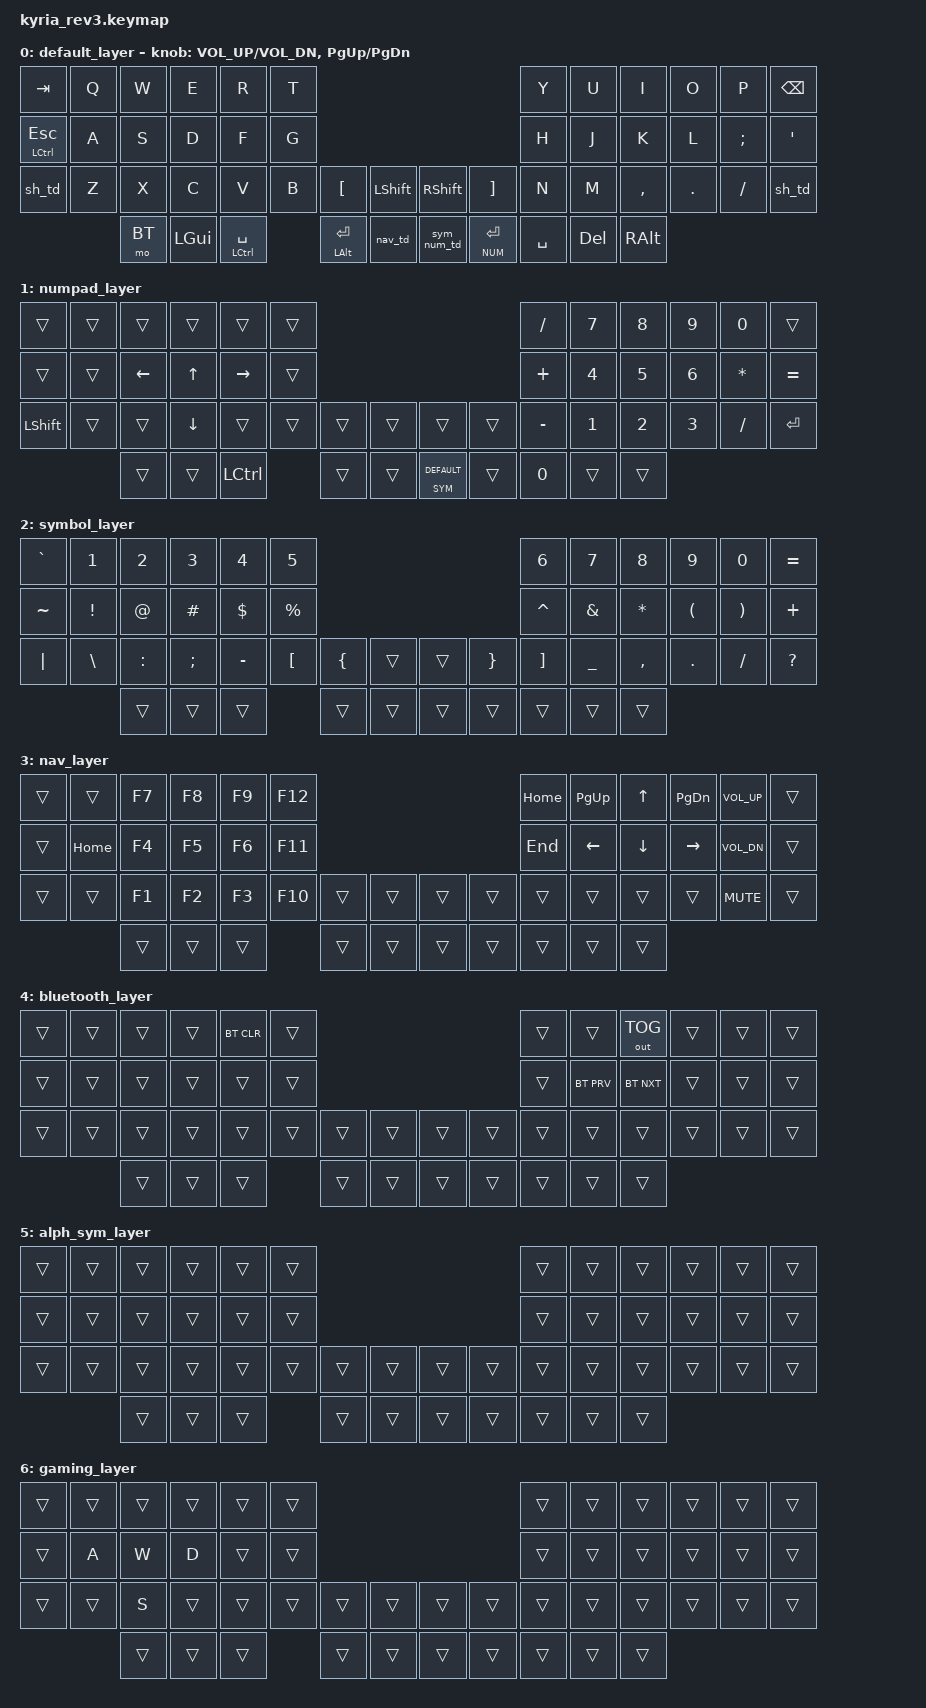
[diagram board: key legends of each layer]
/*
 * Copyright (c) 2023 The ZMK Contributors
 *
 * SPDX-License-Identifier: MIT
 */
#include <behaviors.dtsi>
#include <dt-bindings/zmk/keys.h>
#include <dt-bindings/zmk/bt.h>
#include <dt-bindings/zmk/outputs.h>

#define DEFAULT 0
#define NUM     1
#define SYM     2
#define NAV     3
#define BT      4

#define MO_TOG(layer) &mo_tog layer layer   // Macro to apply momentary-layer-on-hold/toggle-layer-on-tap to a specific layer

// Uncomment this block if using RGB
/* &led_strip { */
/*   // chain-length = <6>; */
/*     chain-length = <31>; // Uncomment if using both per-key and underglow LEDs */
/*     // chain-length = <25>; // Uncomment if using only per-key LEDs. */
/* }; */

// Empty layer template
// -----------------------------------------------------------------------------------------------------------------------------------------
// |       |     |     |      |      |      |                                                |       |       |       |      |       |      |
// |       |     |     |      |      |      |                                                |       |       |       |      |       |      |
// |       |     |     |      |      |      |         |         |        |         |         |       |       |       |      |       |      |
//                     |      |      |      |         |         |        |         |         |       |       |       |
/* bindings = < */
/* &none   &none   &none   &none     &none   &none                               &none &none &none &none &none &none */
/* &none   &none   &none   &none     &none   &none                               &none &none &none &none &none &none */
/* &none   &none   &none   &none     &none   &none   &none &none     &none &none &none &none &none &none &none &none */
/*                         &none     &none   &none   &none &none     &none &none &none &none &none */
/* >; */


// Empty inheriting layer template
// -----------------------------------------------------------------------------------------------------------------------------------------
// |       |     |     |      |      |      |                                                |       |       |       |      |       |      |
// |       |     |     |      |      |      |                                                |       |       |       |      |       |      |
// |       |     |     |      |      |      |         |         |        |         |         |       |       |       |      |       |      |
//                     |      |      |      |         |         |        |         |         |       |       |       |
/* bindings = < */
/* &trans &trans &trans &trans &trans &trans                                &trans &trans &trans &trans &trans &trans */
/* &trans &trans &trans &trans &trans &trans                                &trans &trans &trans &trans &trans &trans */
/* &trans &trans &trans &trans &trans &trans &trans &trans    &trans &trans &trans &trans &trans &trans &trans &trans */
/*                             &trans &trans &trans &trans    &trans &trans &trans &trans &trans &trans */
/* >; */



/ {
    behaviors {
        mo_tog: momentary_toggle_layer {
            compatible = "zmk,behavior-hold-tap";
            #binding-cells = <2>;
            flavor = "hold-preferred";
            tapping-term-ms = <200>;
			bindings = <&mo>, <&tog>;
        };
		mo_to: momentary_to_layer {
            compatible = "zmk,behavior-hold-tap";
            #binding-cells = <2>;
            flavor = "hold-preferred";
            tapping-term-ms = <200>;
			bindings = <&mo>, <&to>;
        };
		sh_td: shift_key_tap_dance {
            compatible = "zmk,behavior-tap-dance";
            #binding-cells = <0>;
            tapping-term-ms = <200>;
            bindings = <&sk LSHFT>, <&caps_word>;
        };
		sym_num_td: symbol_number_tap_dance {
            compatible = "zmk,behavior-tap-dance";
            #binding-cells = <0>;
            tapping-term-ms = <400>;
            bindings = <&mo SYM>, <&tog NUM>;
        };
		nav_td: nav_toggle_tap_dance {
            compatible = "zmk,behavior-tap-dance";
            #binding-cells = <0>;
            tapping-term-ms = <400>;
            bindings = <&mo NAV>, <&to NAV>;
        };
    };

    keymap {
        compatible = "zmk,keymap";
        default_layer {
            // -----------------------------------------------------------------------------------------------------------------------------------------
            // | TAB      | Q | W | E  |   R   |    T    |                                                    |   Y   |  U  |   I   | O |  P  |  BSPC  |
            // | CTRL/ESC | A | S | D  |   F   |    G    |                                                    |   H   |  J  |   K   | L |  ;  |    '   |
            // | LSHIFT   | Z | X | C  |   V   |    B    |    [   | LSHFT |                |  RSHFT  |   ]    |   N   |  M  |   ,   | . |  /  | RSHIFT |
            //                    | BT | SUPER | CTL\SPC | ALT\RET|  NAV  |                | NUM/SYM | SH/RET | SPACE | DEL | R-ALT |
           bindings = <
            &kp TAB        &kp Q  &kp W    &kp E    &kp R &kp T                                                     &kp Y     &kp U     &kp I     &kp O   &kp P    &kp BSPC
            &mt LCTRL ESC  &kp A  &kp S    &kp D    &kp F &kp G                                                     &kp H     &kp J     &kp K     &kp L   &kp SEMI &kp SQT
            &sh_td         &kp Z  &kp X    &kp C    &kp V &kp B     &kp LBKT     &kp LSHFT  &kp RSHIFT  &kp RBKT    &kp N     &kp M     &kp COMMA &kp DOT &kp FSLH &sh_td
                                  &mo BT   &kp LGUI &mt LCTL SPACE  &mt LALT RET &nav_td    &sym_num_td &lt NUM RET &kp SPACE &kp DEL   &kp RALT
            >;
            sensor-bindings = <&inc_dec_kp C_VOL_UP C_VOL_DN &inc_dec_kp PG_UP PG_DN>;
        };

		numpad_layer {
			// ---------------------------------------------------------------------------------------
			// |   |   |      |  UP   |       |  |                            | /  | 7 |  8  | 9 | 0  |     |
			// |   |   | LEFT | DOWN  | RIGHT |  |                            | +  | 4 |  5  | 6 | *  |  =  |
			// |   |   |      |       |       |  |  |  |         |       |    | -  | 1 |  2  | 3 | /  | RET |
			//                |       |       |  |  |  |         |SYM/DEF|    |    | 0 | DEL |
        bindings = <
        &trans    &trans  &trans    &trans    &trans    &trans                                                  &kp SLASH &kp N7  &kp N8 &kp N9 &kp N0    &trans
        &trans    &trans  &kp LEFT  &kp UP    &kp RIGHT &trans                                                  &kp PLUS  &kp N4  &kp N5 &kp N6 &kp STAR  &kp EQUAL
        &kp LSHFT &trans  &trans    &kp DOWN  &trans    &trans   &trans &trans       &trans              &trans &kp MINUS &kp N1  &kp N2 &kp N3 &kp SLASH &kp RET
                                    &trans    &trans    &kp LCTL &trans &trans       &mo_to SYM DEFAULT  &trans &kp N0    &trans  &trans
            >;
        };

        symbol_layer {
          // ---------------------------------------------------------------------------------------------------------------------------------
          // |   `    |  1   |  2   |   3   |   4   |  5    |                                      |  6  |  7   |   8  |   9   |  0  |   =   |
          // |   ~    |  !   |   @  |   #   |  $    |   %   |                                      |  ^  |  &   |   *  |   (   |  )  |   +   |
          // |   |    |  \   |  :   |   ;   |  -    |   [   |   {   |    |              |    |  }  |  ]  |  _   |   ,  |   .   |  /  |   ?   |
          //                        |       |       |       |       |    |              |    |     |     |     |      |
          bindings = <
          &kp GRAVE &kp N1   &kp N2    &kp N3   &kp N4    &kp N5                                        &kp N6    &kp N7    &kp N8    &kp N9   &kp N0    &kp EQUAL
          &kp TILDE &kp EXCL &kp AT    &kp HASH &kp DLLR  &kp PRCNT                                     &kp CARET &kp AMPS  &kp STAR  &kp LPAR &kp RPAR  &kp PLUS
          &kp PIPE  &kp BSLH &kp COLON &kp SEMI &kp MINUS &kp LBKT  &kp LBRC &trans     &trans &kp RBRC &kp RBKT  &kp UNDER &kp COMMA &kp DOT  &kp SLASH &kp QMARK
                                       &trans   &trans    &trans    &trans   &trans     &trans &trans   &trans &trans &trans
          >;

         };


        nav_layer {
          // ---------------------------------------------------------------------------------------------------------------------------------------------
          // |       |     |     |      |      |      |                                                |       |       |  UP   |        |  VOL UP |      |
          // |       |     |     |      |      |      |                                                |       | LEFT  | DOWN  | RIGHT  |  VOL DN |      |
          // |       |     |     |      |      |      |    |     |    |         |         |       |       |       |        |         |      |
          //                     |      |      |      |    |     |    |         |         |       |       |       |
          bindings = <
          &trans &trans   &kp F7 &kp F8  &kp F9   &kp F12                                 &kp HOME  &kp PG_UP &kp UP   &kp PG_DN &kp C_VOL_UP &trans
          &trans &kp HOME &kp F4 &kp F5  &kp F6   &kp F11                                 &kp END   &kp LEFT  &kp DOWN &kp RIGHT &kp C_VOL_DN &trans
          &trans &trans   &kp F1 &kp F2  &kp F3   &kp F10 &trans &trans     &trans &trans &trans &trans   &trans &trans  &kp C_MUTE &trans
                                         &trans   &trans  &trans &trans     &trans &trans &trans &trans   &trans &trans
          >;
        };

        bluetooth_layer {
          // -------------------------------------------------------------------------------------------------------------------------------------------
          // |       |     |     |      | BT_CLR |      |                                                |        |         | OUT_TOG |      |       |      |
          // |       |     |     |      |        |      |                                                |        | BT_PRV  | BT_NXT  |      |       |      |
          // |       |     |     |      |        |      |         |         |        |         |         |        |         |         |      |
          //                     |      |        |      |         |         |        |         |         |        |         |         |
          bindings = <
            &trans &trans &trans &trans &bt BT_CLR &trans                                 &trans &trans      &out OUT_TOG &trans &trans &trans
            &trans &trans &trans &trans &trans     &trans                                 &trans &bt BT_PRV  &bt BT_NXT   &trans &trans &trans
            &trans &trans &trans &trans &trans     &trans &trans &trans     &trans &trans &trans &trans      &trans       &trans &trans &trans
                                        &trans     &trans &trans &trans     &trans &trans &trans &trans      &trans       &trans
            >;
        };

        alph_sym_layer {
          // -----------------------------------------------------------------------------------------------------------------------------------------
          // |   |  |     |  ! |      |      |                                                |       |       |       |      |       |      |
          // |   |  |     |    |      |      |                                                |       |       |       |      |       |      |
          // |   |  |     |    |      |      |         |         |        |         |         |       |       |       |      |       |      |
          //                      |      |      |      |         |         |        |         |         |       |       |       |
          bindings = <
          &trans &trans &trans &trans &trans &trans                                &trans &trans &trans &trans &trans &trans
          &trans &trans &trans &trans &trans &trans                                &trans &trans &trans &trans &trans &trans
          &trans &trans &trans &trans &trans &trans &trans &trans    &trans &trans &trans &trans &trans &trans &trans &trans
                                      &trans &trans &trans &trans    &trans &trans &trans &trans &trans &trans
          >;

        };

        gaming_layer {
          // -----------------------------------------------------------------------------------------------------------------------------------------
          // |   |  |     |  ! |      |      |                                                |       |       |       |      |       |      |
          // |   |  |     |    |      |      |                                                |       |       |       |      |       |      |
          // |   |  |     |    |      |      |         |         |        |         |         |       |       |       |      |       |      |
          //                      |      |      |      |         |         |        |         |         |       |       |       |
          bindings = <
          &trans &trans &trans &trans &trans &trans                                 &trans &trans &trans &trans &trans &trans
          &trans &kp A  &kp W  &kp D  &trans &trans                                 &trans &trans &trans &trans &trans &trans
          &trans &trans &kp S  &trans &trans &trans &trans &trans     &trans &trans &trans &trans &trans &trans &trans &trans
                               &trans &trans &trans &trans &trans     &trans &trans &trans &trans &trans
          >;

        };
    };
};
